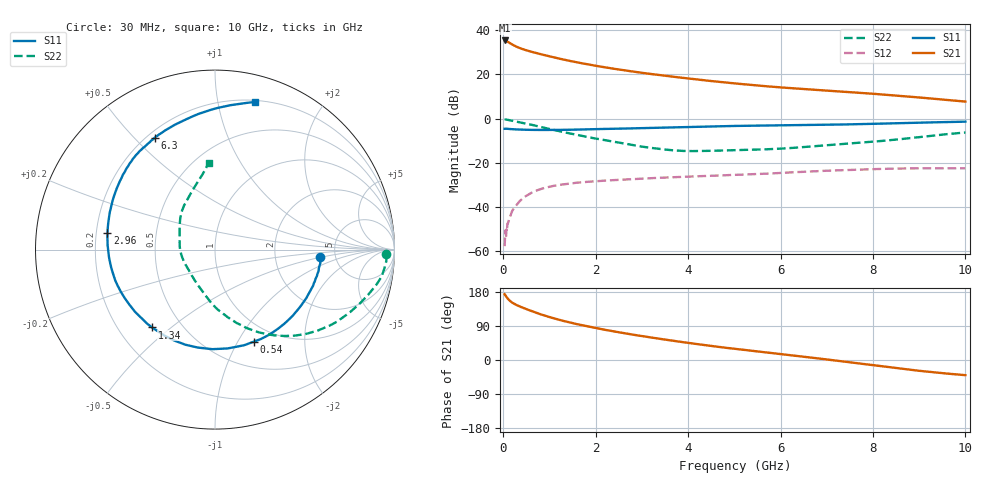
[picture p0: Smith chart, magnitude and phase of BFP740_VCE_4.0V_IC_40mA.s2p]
! Infineon Technologies  Discrete & RF Semiconductors
! BFP740
! VCE =  4.0 V,  IC =  40 mA
! Common Emitter S-Parameters:  Jan 2016
# GHz  S  MA  R  50
!  f  S11  S21  S12  S22
! GHz  MAG  ANG  MAG  ANG  MAG  ANG  MAG  ANG
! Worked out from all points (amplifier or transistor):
!   229 points, 30 MHz to 10 GHz, reference 50 ohm
!   highest |S21| = 35.3 dB at 30 MHz (marker M1)
!   |S21| within 3 dB of that: start of sweep to 304.7 MHz
!   unconditionally stable (mu >= 1): 5.72 GHz to 7.637 GHz
!   at 280 MHz: K = 0.36, MSG = 35.9 dB, |S12| = -39.3 dB
!   at 1.78 GHz: K = 0.55, MSG = 26.7 dB, |S12| = -28.7 dB
!   at 10 GHz: K = 0.97, MSG = 15.1 dB, |S12| = -22.5 dB
!   S11 on the Smith chart (normalised r, x): 30 MHz: 3.78, -0.50; 540 MHz: 0.79, -1.17; 1.34 GHz: 0.34, -0.43; 2.96 GHz: 0.25, +0.07; 6.3 GHz: 0.23, +0.57; 10 GHz: 0.21, +1.28
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0.03  0.5877 -4.2  58.52 173.6  0.0013 66.2  0.9531 -1.5
0.07  0.5879 -10.3  56.83 166.3  0.0031 63.6  0.9506 -6.0
0.11  0.5833 -16.2  53.73 160.2  0.0045 80.9  0.9364 -9.8
0.15  0.5802 -21.6  50.52 155.6  0.0061 76.2  0.9142 -13.0
0.2  0.576 -28.1  46.98 151.0  0.0084 72.9  0.8899 -16.4
0.26  0.5704 -35.5  43.59 146.7  0.0102 75.8  0.8632 -20.1
0.34  0.5662 -45.0  39.98 142.2  0.013 69.5  0.8303 -24.7
0.54  0.5567 -66.9  34.1 132.4  0.019 60.9  0.7519 -35.2
0.7  0.5552 -82.7  30.65 125.2  0.0232 55.7  0.6914 -42.8
0.9  0.5541 -99.9  27.16 117.0  0.0272 49.4  0.6176 -51.2
1.12  0.5548 -115.7  23.92 109.0  0.0305 44.3  0.5452 -59.3
1.34  0.5573 -128.9  21.24 102.0  0.033 40.1  0.4856 -66.2
1.7  0.567 -146.9  17.85 91.9  0.036 35.4  0.4052 -76.1
2.24  0.5843 -167.5  14.22 78.8  0.0398 30.1  0.3188 -90.1
2.96  0.6059 171.4  11.01 64.0  0.0436 25.8  0.2357 -109.0
3.4  0.6216 160.7  9.596 55.7  0.0458 23.6  0.2051 -123.6
4.2  0.6528 144.3  7.646 41.9  0.0495 19.9  0.1844 -153.7
5.1  0.6835 131.0  6.118 28.2  0.0536 16.6  0.1944 -180.0
6.3  0.7083 118.3  4.817 11.5  0.0612 12.2  0.2186 154.4
6.8  0.7202 112.5  4.43 4.4  0.0646 9.2  0.2385 145.3
8.4  0.78 91.5  3.385 -19.6  0.0736 -2.7  0.3268 116.8
10  0.8519 74.9  2.425 -40.0  0.075 -13.1  0.4852 94.1
